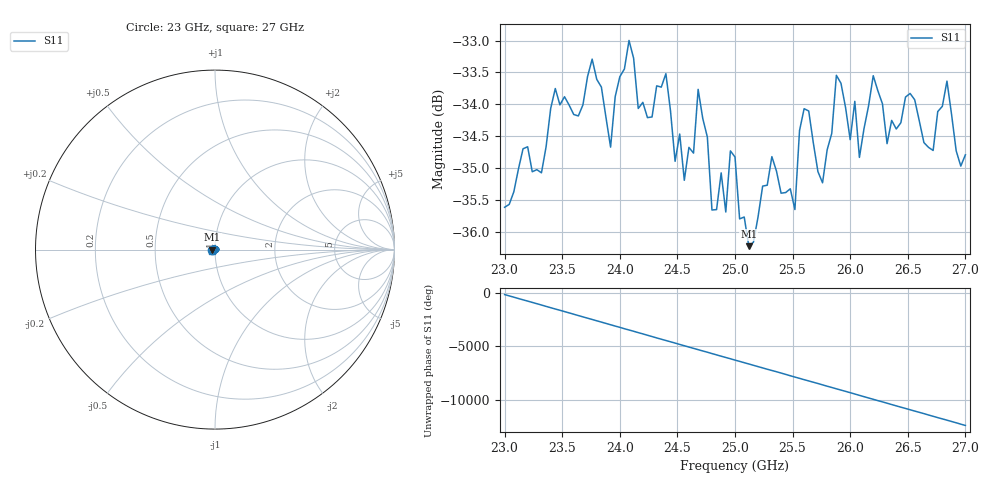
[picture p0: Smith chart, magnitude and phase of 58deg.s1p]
#  HZ  S  RI  R  50.00
! Rohde & Schwarz ZVA40 4Ports - Version 3.90 - 1145.1110k42 SN: 100403
! Date: 2023-09-26 10:52:42
! Measurement: S12
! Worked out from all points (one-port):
!   101 points, 23 GHz to 27 GHz, reference 50 ohm
!   lowest |S11| = -36.2 dB at 25.12 GHz (marker M1), VSWR 1.03, Z = 48.5 - j0.000691 ohm
!   |S11| at or under -10 dB: start of sweep to end of sweep
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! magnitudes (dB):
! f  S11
! 23 GHz  -35.6
! 23.52 GHz  -33.9
! 23.76 GHz  -33.3
! 23.92 GHz  -34.7
! 24 GHz  -33.6
! 24.24 GHz  -34.2
! 24.4 GHz  -33.5
! 24.48 GHz  -34.9
! 24.52 GHz  -34.5
! 24.56 GHz  -35.2
! 24.68 GHz  -33.8
! 24.8 GHz  -35.7
! 25 GHz  -34.8
! 25.12 GHz  -36.2
! 25.32 GHz  -34.8
! 25.52 GHz  -35.7
! 25.6 GHz  -34.1
! 25.76 GHz  -35.2
! 25.88 GHz  -33.5
! 26 GHz  -34.6
! 26.04 GHz  -34.0
! 26.08 GHz  -34.8
! 26.2 GHz  -33.6
! 26.32 GHz  -34.6
! 26.52 GHz  -33.8
! 26.72 GHz  -34.7
! 26.84 GHz  -33.6
! 27 GHz  -34.8
